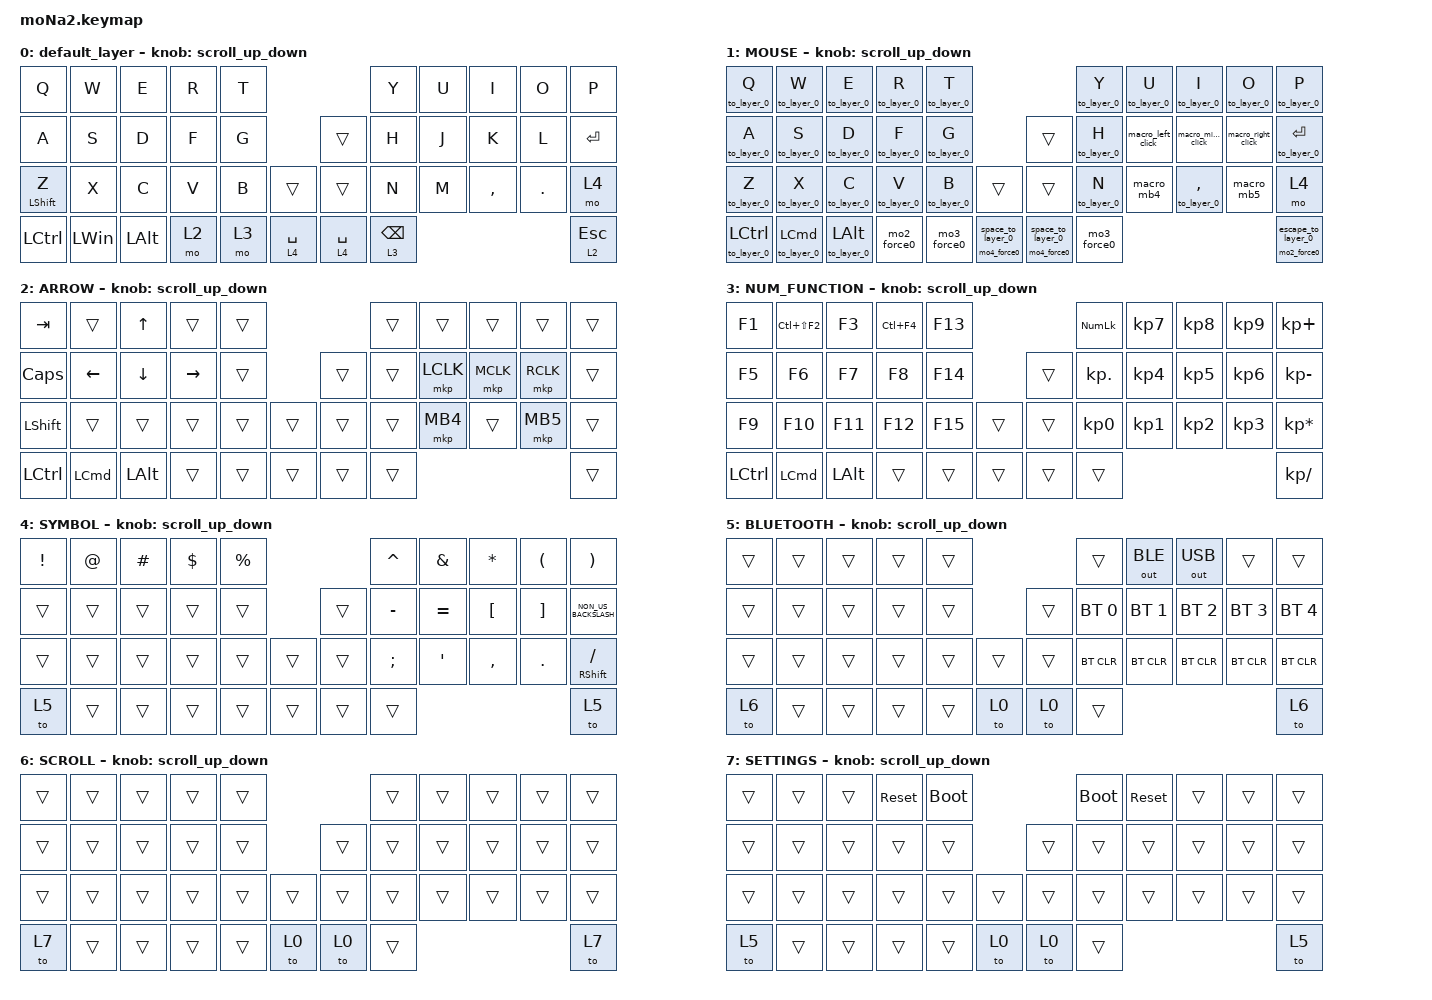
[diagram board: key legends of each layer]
#include <behaviors.dtsi>
#include <dt-bindings/zmk/bt.h>
#include <dt-bindings/zmk/keys.h>
#include <dt-bindings/zmk/outputs.h>
#include <dt-bindings/zmk/pointing.h>

#define ZMK_POINTING_DEFAULT_SCRL_VAL 100
#define MOUSE 5
#define SCROLL 6

&mt {
    flavor = "balanced";
    quick-tap-ms = <0>;
};

&sl { release-after-ms = <250>; };

/ {
    combos {
        compatible = "zmk,combos";

        tab {
            bindings = <&kp TAB>;
            key-positions = <1 0>;
        };

        backspace {
            bindings = <&kp BACKSPACE>;
            key-positions = <8 9>;
        };

        command+shift {
            bindings = <&kp LS(LEFT_COMMAND)>;
            key-positions = <34 21>;
        };

        minus {
            bindings = <&kp MINUS>;
            key-positions = <8 7>;
        };
    };

    macros {
        to_layer_0: to_layer_0 {
            compatible = "zmk,behavior-macro-one-param";
            #binding-cells = <1>;
            bindings = <&to 0 &macro_param_1to1 &kp MACRO_PLACEHOLDER>;
            label = "TO_LAYER_0";
        };

        macro_left_click: macro_left_click {
            compatible = "zmk,behavior-macro";
            #binding-cells = <0>;
            bindings =
                <&macro_press>,
                <&mkp LCLK>,
                <&macro_pause_for_release>,
                <&macro_release>,
                <&mkp LCLK>,
                <&macro_tap>,
                <&tog 1 &sl 1>;

            label = "MACRO_LEFT_CLICK";
        };

        macro_middle_click: macro_middle_click {
            compatible = "zmk,behavior-macro";
            #binding-cells = <0>;
            bindings =
                <&macro_press>,
                <&mkp MCLK>,
                <&macro_pause_for_release>,
                <&macro_release>,
                <&mkp MCLK>,
                <&macro_tap>,
                <&tog 1 &sl 1>;

            label = "MACRO_MIDDLE_CLICK";
        };

        macro_right_click: macro_right_click {
            compatible = "zmk,behavior-macro";
            #binding-cells = <0>;
            bindings =
                <&macro_press>,
                <&mkp RCLK>,
                <&macro_pause_for_release>,
                <&macro_release>,
                <&mkp RCLK>,
                <&macro_tap>,
                <&tog 1 &sl 1>;

            label = "MACRO_RIGHT_CLICK";
        };

        mo3_force0: mo3_force0 {
            compatible = "zmk,behavior-macro";
            #binding-cells = <0>;
            bindings =
                <&macro_press>,
                <&mo 3>,
                <&macro_pause_for_release>,
                <&macro_release>,
                <&mo 3>,
                <&macro_tap>,
                <&tog_off 1>;

            label = "MO3_FORCE0";
        };

        mo4_force0: mo4_force0 {
            compatible = "zmk,behavior-macro";
            #binding-cells = <0>;
            bindings =
                <&macro_press>,
                <&mo 4>,
                <&macro_pause_for_release>,
                <&macro_release>,
                <&mo 4>,
                <&macro_tap>,
                <&tog_off 1>;

            label = "MO4_FORCE0";
        };

        mo2_force0: mo2_force0 {
            compatible = "zmk,behavior-macro";
            #binding-cells = <0>;
            bindings =
                <&macro_press>,
                <&mo 2>,
                <&macro_pause_for_release>,
                <&macro_release>,
                <&mo 2>,
                <&macro_tap>,
                <&tog_off 1>;

            label = "MO2_FORCE0";
        };

        space_to_layer_0: space_to_layer_0 {
            compatible = "zmk,behavior-macro";
            #binding-cells = <0>;
            bindings = <&macro_tap>, <&tog_off 1 &kp SPACE>;

            label = "SPACE_TO_LAYER_0";
        };

        escape_to_layer_0: escape_to_layer_0 {
            compatible = "zmk,behavior-macro";
            #binding-cells = <0>;
            bindings = <&macro_tap>, <&tog_off 1 &kp ESCAPE>;

            label = "ESCAPE_TO_LAYER_0";
        };

        macro_mb4: macro_mb4 {
            compatible = "zmk,behavior-macro";
            #binding-cells = <0>;
            bindings =
                <&macro_press>,
                <&mkp MB4>,
                <&macro_pause_for_release>,
                <&macro_release>,
                <&mkp MB4>,
                <&macro_tap>,
                <&tog 1 &sl 1>;

            label = "MACRO_MB4";
        };

        macro_mb5: macro_mb5 {
            compatible = "zmk,behavior-macro";
            #binding-cells = <0>;
            bindings =
                <&macro_press>,
                <&mkp MB5>,
                <&macro_pause_for_release>,
                <&macro_release>,
                <&mkp MB5>,
                <&macro_tap>,
                <&tog 1 &sl 1>;

            label = "MACRO_MB5";
        };
    };

    behaviors {
        lt_to_layer_0: lt_to_layer_0 {
            compatible = "zmk,behavior-hold-tap";
            label = "LAYER_TAP_TO_0";
            bindings = <&mo>, <&to_layer_0>;

            #binding-cells = <2>;
            tapping-term-ms = <200>;
        };

        scroll_up_down: behavior_sensor_rotate_mouse_wheel_up_down {
            compatible = "zmk,behavior-sensor-rotate";
            #sensor-binding-cells = <0>;
            bindings = <&msc SCRL_UP>, <&msc SCRL_DOWN>;

            tap-ms = <20>;
        };

        tog_off: toggle_layer_off_only {
            compatible = "zmk,behavior-toggle-layer";
            #binding-cells = <1>;
            toggle-mode = "off";
        };

        customized_hold_tap1: customized_hold_tap1 {
            compatible = "zmk,behavior-hold-tap";
            label = "CUSTOMIZED_HOLD_TAP1";
            bindings = <&mo4_force0>, <&space_to_layer_0>;

            #binding-cells = <2>;
            tapping-term-ms = <200>;
        };

        customized_hold_tap2: customized_hold_tap2 {
            compatible = "zmk,behavior-hold-tap";
            label = "CUSTOMIZED_HOLD_TAP2";
            bindings = <&mo2_force0>, <&escape_to_layer_0>;

            #binding-cells = <2>;
            tapping-term-ms = <200>;
        };
    };

    keymap {
        compatible = "zmk,keymap";

        default_layer {
            bindings = <
&kp Q             &kp W         &kp E         &kp R  &kp T                              &kp Y            &kp U  &kp I      &kp O    &kp P
&kp A             &kp S         &kp D         &kp F  &kp G                 &trans       &kp H            &kp J  &kp K      &kp L    &kp ENTER
&mt LEFT_SHIFT Z  &kp X         &kp C         &kp V  &kp B  &trans         &trans       &kp N            &kp M  &kp COMMA  &kp DOT  &mo 4
&kp LCTRL         &kp LEFT_WIN  &kp LEFT_ALT  &mo 2  &mo 3  &lt 4 SPACE    &lt 4 SPACE  &lt 3 BACKSPACE                             &lt 2 ESCAPE
            >;

            sensor-bindings = <&scroll_up_down>;
        };

        MOUSE {
            bindings = <
&to_layer_0 Q      &to_layer_0 W             &to_layer_0 E         &to_layer_0 R  &to_layer_0 T                                                          &to_layer_0 Y  &to_layer_0 U      &to_layer_0 I        &to_layer_0 O       &to_layer_0 P
&to_layer_0 A      &to_layer_0 S             &to_layer_0 D         &to_layer_0 F  &to_layer_0 G                               &trans                     &to_layer_0 H  &macro_left_click  &macro_middle_click  &macro_right_click  &to_layer_0 ENTER
&to_layer_0 Z      &to_layer_0 X             &to_layer_0 C         &to_layer_0 V  &to_layer_0 B  &trans                       &trans                     &to_layer_0 N  &macro_mb4         &to_layer_0 COMMA    &macro_mb5          &mo 4
&to_layer_0 LCTRL  &to_layer_0 LEFT_COMMAND  &to_layer_0 LEFT_ALT  &mo2_force0    &mo3_force0    &customized_hold_tap1 0 0    &customized_hold_tap1 0 0  &mo3_force0                                                                &customized_hold_tap2 0 0
            >;

            sensor-bindings = <&scroll_up_down>;
        };

        ARROW {
            bindings = <
&kp TAB           &trans            &kp UP_ARROW    &trans           &trans                    &trans  &trans     &trans     &trans     &trans
&kp CAPS          &kp LEFT_ARROW    &kp DOWN_ARROW  &kp RIGHT_ARROW  &trans            &trans  &trans  &mkp LCLK  &mkp MCLK  &mkp RCLK  &trans
&kp LEFT_SHIFT    &trans            &trans          &trans           &trans  &trans    &trans  &trans  &mkp MB4   &trans     &mkp MB5   &trans
&kp LEFT_CONTROL  &kp LEFT_COMMAND  &kp LEFT_ALT    &trans           &trans  &trans    &trans  &trans                                   &trans
            >;

            sensor-bindings = <&scroll_up_down>;
        };

        NUM_FUNCTION {
            bindings = <
&kp F1     &kp LC(LS(F2))    &kp F3        &kp LC(F4)  &kp F13                    &kp KP_NUMLOCK  &kp KP_N7  &kp KP_N8  &kp KP_N9  &kp KP_PLUS
&kp F5     &kp F6            &kp F7        &kp F8      &kp F14            &trans  &kp KP_DOT      &kp KP_N4  &kp KP_N5  &kp KP_N6  &kp KP_MINUS
&kp F9     &kp F10           &kp F11       &kp F12     &kp F15  &trans    &trans  &kp KP_N0       &kp KP_N1  &kp KP_N2  &kp KP_N3  &kp KP_MULTIPLY
&kp LCTRL  &kp LEFT_COMMAND  &kp LEFT_ALT  &trans      &trans   &trans    &trans  &trans                                           &kp KP_SLASH
            >;

            sensor-bindings = <&scroll_up_down>;
        };

        SYMBOL {
            bindings = <
&kp EXCLAMATION  &kp AT_SIGN  &kp HASH  &kp DOLLAR  &kp PERCENT                    &kp CARET      &kp AMPERSAND  &kp ASTERISK      &kp LEFT_PARENTHESIS  &kp RIGHT_PARENTHESIS
&trans           &trans       &trans    &trans      &trans                 &trans  &kp MINUS      &kp EQUAL      &kp LEFT_BRACKET  &kp RIGHT_BRACKET     &kp NON_US_BACKSLASH
&trans           &trans       &trans    &trans      &trans       &trans    &trans  &kp SEMICOLON  &kp SQT        &kp COMMA         &kp PERIOD            &mt RSHFT SLASH
&to 5            &trans       &trans    &trans      &trans       &trans    &trans  &trans                                                                &to 5
            >;

            sensor-bindings = <&scroll_up_down>;
        };

        BLUETOOTH {
            bindings = <
&trans  &trans  &trans  &trans  &trans                    &trans        &out OUT_BLE  &out OUT_USB  &trans        &trans
&trans  &trans  &trans  &trans  &trans            &trans  &bt BT_SEL 0  &bt BT_SEL 1  &bt BT_SEL 2  &bt BT_SEL 3  &bt BT_SEL 4
&trans  &trans  &trans  &trans  &trans  &trans    &trans  &bt BT_CLR    &bt BT_CLR    &bt BT_CLR    &bt BT_CLR    &bt BT_CLR
&to 6   &trans  &trans  &trans  &trans  &to 0     &to 0   &trans                                                  &to 6
            >;

            sensor-bindings = <&scroll_up_down>;
        };

        SCROLL {
            bindings = <
&trans  &trans  &trans  &trans  &trans                    &trans  &trans  &trans  &trans  &trans
&trans  &trans  &trans  &trans  &trans            &trans  &trans  &trans  &trans  &trans  &trans
&trans  &trans  &trans  &trans  &trans  &trans    &trans  &trans  &trans  &trans  &trans  &trans
&to 7   &trans  &trans  &trans  &trans  &to 0     &to 0   &trans                          &to 7
            >;

            sensor-bindings = <&scroll_up_down>;
        };

        SETTINGS {
            bindings = <
&trans  &trans  &trans  &sys_reset  &bootloader                    &bootloader  &sys_reset  &trans  &trans  &trans
&trans  &trans  &trans  &trans      &trans                 &trans  &trans       &trans      &trans  &trans  &trans
&trans  &trans  &trans  &trans      &trans       &trans    &trans  &trans       &trans      &trans  &trans  &trans
&to 5   &trans  &trans  &trans      &trans       &to 0     &to 0   &trans                                   &to 5
            >;

            sensor-bindings = <&scroll_up_down>;
        };
    };
};
